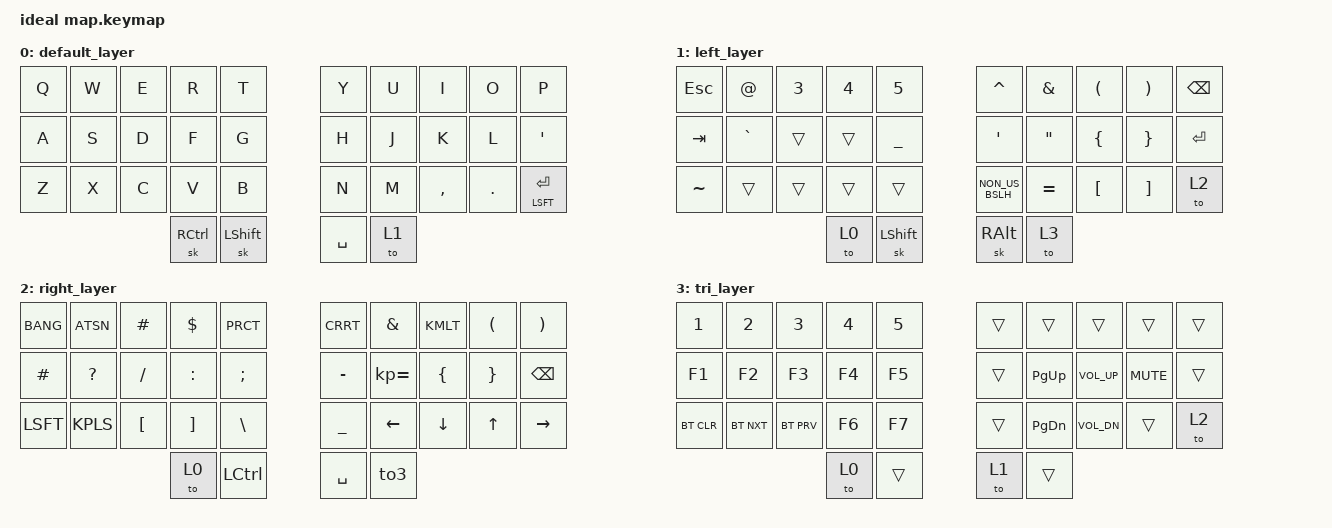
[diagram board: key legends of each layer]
/*
 * Copyright (c) 2020 The ZMK Contributors
 *
 * SPDX-License-Identifier: MIT
 */

#include <behaviors.dtsi>
#include <dt-bindings/zmk/keys.h>
#include <dt-bindings/zmk/bt.h>
#include <dt-bindings/zmk/outputs.h>


&mt {
  //  flavor = "tap-preferred";
   // tapping_term_ms = <200>;
};

/ { 
    combos {
        compatible = "zmk,combos";
        combo_esc {
            timeout-ms = <50>;
            key-positions = <0 1>;
            bindings = <&kp ESC>;
        };
        
         combo_tab {
            timeout-ms = <50>;
            key-positions = <10 11>;
            bindings = <&kp TAB>;
        };
        
            combo_ralt {
            timeout-ms = <50>;
            key-positions = <17 16>;
            bindings = <&kp RALT>;
        };
        
                    combo_lalt {
            timeout-ms = <50>;
            key-positions = <11 12>;
            bindings = <&kp LALT>;
        };
        
                           combo_lgui {
            timeout-ms = <50>;
            key-positions = <12 13>;
            bindings = <&kp LGUI>;
        };
        
        
           combo_rgui {
            timeout-ms = <50>;
            key-positions = <17 18>;
            bindings = <&kp RGUI>;
        };
        

        ff
    };

        keymap {
                compatible = "zmk,keymap";
// --------------------------------------------------------------------------------------------------------------------------------------------- //
//     Q    |    W    |    E    |    R    |    T    |                                          |    Y    |    U    |    I    |    O    |    P    //
//     A    |    S    |    D    |    F    |    G    |                 LAYER0                   |    H    |    J    |    K    |    L    |    ;    //
//     Z    |    X    |    C    |    V    |    B    |                                          |    N    |    M    |    ,    |    .    |    /    //
//                              |   CTRL  |   SHIFT |                                          |  SPACE  |    L2                                 //
// --------------------------------------------------------------------------------------------------------------------------------------------- //
       		default_layer {
		bindings = <
		&kp Q &kp W &kp E &kp R &kp T 						&kp Y &kp U  &kp I &kp O   &kp P 
		&kp A &kp S &kp D &kp F &kp G 			        	&kp H &kp J &kp K &kp L &kp QUOT
		&kp Z &kp X &kp C &kp V &kp B	                    &kp N &kp M  &kp CMMA &kp DOT &mt LSFT RET
          				&sk RCTRL &sk LSHIFT  				&kp SPC &to 1
		>;
		};
// --------------------------------------------------------------------------------------------------------------------------------------------- //
//     ESC  |    @    |    #    |    $    |    %    |                                          |    ^    |    &    |    (    |    )    |    BKSP //
//     TAB  |    `    |         |         |    _    |                 LAYER1                   |    '    |    "    |    {    |    }    |    ENTER//
//     ~    |         |         |         |         |                                          |    \    |    =    |    [    |    ]    |    L2   //
//                              |   L1    |   SHIFT |                                          |  ALT    |    L3                                 //
// --------------------------------------------------------------------------------------------------------------------------------------------- //
       		left_layer {
		bindings = <
		&kp ESC &kp AT  &kp NUM_3  &kp NUM_4 &kp NUM_5		            &kp CARET &kp AMPS &kp LPAR &kp RPAR &kp BKSP 
		&kp TAB &kp GRAVE &trans &trans &kp UNDER 		                &kp APOS &kp DQT  &kp LBRC &kp RBRC  &kp ENTER 
		&kp TILDE &trans &trans &trans  &trans 	                        &kp NON_US_BSLH &kp EQUAL &kp LBKT &kp RBKT  &to 2
					            &to 0  &sk LSHIFT  					    &sk RALT &to 3
		>;
		};
// --------------------------------------------------------------------------------------------------------------------------------------------- //
//     ESC  |  MOUSCRL|  MOUSUP | MOUSCRR |         |                                          |   BACK  | PREVTAB | NXTTAB  |  FRWRD  |    BKSP //
//     TAB  |  MOUSLF |  MOUSDN | MOUSRT  |    _    |                 LAYER2                   |   LEFT  |    UP   |  RIGHT  |  DOWN   |    ENTER//
//     ~    |  RT CLK |  MOUSCRU| MOUSCRD |   DEL   |                                          |  RT CLK |         |         |         |    L3   //
//                              |   L1    |   SHIFT |                                          |  ALT    |    L2                                 //
// --------------------------------------------------------------------------------------------------------------------------------------------- //
		right_layer {
		bindings = <
		&kp BANG  &kp ATSN &kp HASH  &kp DLLR  &kp PRCT    			&kp CRRT  &kp AMPS &kp KMLT &kp LPRN &kp RPRN 
		&kp HASH  &kp QMARK  &kp FSLH  &kp COLN  &kp SCLN 			&kp MINUS &kp KP_EQUAL  &kp LBRC  &kp RBRC   &kp BKSP
		&kp LSFT  &kp KPLS &kp LBKT &kp RBKT   &kp BSLH    			&kp UNDER &kp LEFT &kp DOWN &kp UP  &kp RIGHT
					  &to 0 &kp LCTL  				&kp SPC  &to3 
		>;
		};	
// --------------------------------------------------------------------------------------------------------------------------------------------- //
//     ESC    |    PLAY |    PREV |    NEXT |    T    |                                          |    -    |    7    |    8    |    9    |    P  //
//     TAB    |    CAPS |    VOLDN|    VOLUP|    +    |                LAYER3                    |    =    |    6    |    5    |    4    |    ;  //
//     RESET  |    BRTUP|    BRTDN|    V    |    .    |                                          |    0    |    3    |    2    |    1    |    /  //
//                                |   L1    |   CMD   |                                          |    ALT  |   L2                                //
// --------------------------------------------------------------------------------------------------------------------------------------------- //
		tri_layer {
		bindings = <
		&kp NUM_1  &kp NUM_2    &kp NUM_3    &kp NUM_4    &kp NUM_5 			&trans &trans   &trans   &trans  &trans
		&kp F1 &kp F2 &kp F3 &kp F4 &kp F5  						&trans &kp PG_UP  &kp K_VOL_UP &kp K_MUTE &trans 
		&bt BT_CLR  &bt BT_NXT &bt BT_PRV &kp F6 &kp F7   				&trans &kp PG_DN  &kp K_VOL_DN  &trans &to 2  
					 &to 0 &trans  					&to 1 &trans 
		>;
		};	
        
	};
};
